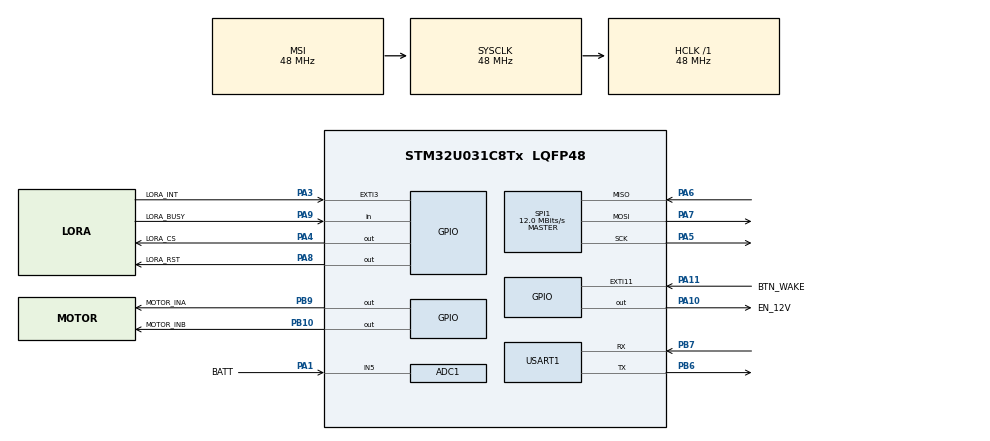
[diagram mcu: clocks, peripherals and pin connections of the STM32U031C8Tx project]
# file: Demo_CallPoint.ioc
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ADC1.Channel-0\#ChannelRegularConversion=ADC_CHANNEL_5
ADC1.NbrOfConversionFlag=1
ADC1.Rank-0\#ChannelRegularConversion=1
ADC1.RankArg-0\#ChannelRegularConversion=ADC_REGULAR_RANK_1
ADC1.SamplingTime-0\#ChannelRegularConversion=ADC_SAMPLINGTIME_COMMON_1
ADC1.SelectedChannel=ADC_CHANNEL_5
ADC1.master=1
Mcu.Family=STM32U0
Mcu.Name=STM32U031C8Tx
Mcu.Package=LQFP48
Mcu.UserConstants=RTC_PREDIV_A,((1<<(15-RTC_N_PREDIV_S))-1);RTC_N_PREDIV_S,10;RTC_PREDIV_S,((1<<RTC_N_PREDIV_S)-1)
NVIC.EXTI2_3_IRQn=true\:0\:0\:false\:false\:true\:true\:true\:true
NVIC.EXTI4_15_IRQn=true\:0\:0\:false\:false\:true\:true\:true\:true
NVIC.PriorityGroup=NVIC_PRIORITYGROUP_2
PA1.GPIO_Label=BATT
PA1.Mode=IN5
PA1.Signal=ADC1_IN5
PA10.GPIO_Label=EN_12V
PA10.PinState=GPIO_PIN_RESET
PA10.Signal=GPIO_Output
PA11\ [PA9].GPIO_Label=BTN_WAKE
PA11\ [PA9].GPIO_ModeDefaultEXTI=GPIO_MODE_IT_FALLING
PA11\ [PA9].Signal=GPXTI11
PA13\ (SWDIO).Mode=Serial_Wire
PA13\ (SWDIO).Signal=DEBUG_JTMS-SWDIO
PA14\ (SWCLK).Mode=Serial_Wire
PA14\ (SWCLK).Signal=DEBUG_JTCK-SWCLK
PA3.GPIO_Label=LORA_INT
PA3.Signal=GPXTI3
PA4.GPIO_Label=LORA_CS
PA4.PinState=GPIO_PIN_SET
PA4.Signal=GPIO_Output
PA5.Mode=Full_Duplex_Master
PA5.Signal=SPI1_SCK
PA6.Mode=Full_Duplex_Master
PA6.Signal=SPI1_MISO
PA7.Mode=Full_Duplex_Master
PA7.Signal=SPI1_MOSI
PA8.GPIO_Label=LORA_RST
PA8.PinState=GPIO_PIN_SET
PA8.Signal=GPIO_Output
PA9.GPIO_Label=LORA_BUSY
PA9.Signal=GPIO_Input
PB10.GPIO_Label=MOTOR_INB
PB10.PinState=GPIO_PIN_RESET
PB10.Signal=GPIO_Output
PB6.Mode=Asynchronous
PB6.Signal=USART1_TX
PB7.Mode=Asynchronous
PB7.Signal=USART1_RX
PB9.GPIO_Label=MOTOR_INA
PB9.PinState=GPIO_PIN_RESET
PB9.Signal=GPIO_Output
ProjectManager.HeapSize=0x200
ProjectManager.StackSize=0x400
ProjectManager.TargetToolchain=STM32CubeIDE
RCC.ADCFreq_Value=48000000
RCC.AHBFreq_Value=48000000
RCC.CortexFreq_Value=48000000
RCC.HCLKFreq_Value=48000000
RCC.HSE_VALUE=8000000
RCC.HSI48_VALUE=48000000
RCC.HSI_VALUE=16000000
RCC.LSE_VALUE=32768
RCC.MSIClockRangeVal=RCC_MSIRANGE_11
RCC.MSI_VALUE=48000000
RCC.PLLN=8
RCC.PLLP=RCC_PLLP_DIV8
RCC.PLLQ=RCC_PLLQ_DIV8
RCC.PLLR=RCC_PLLR_DIV4
RCC.PLLSourceVirtual=RCC_PLLSOURCE_MSI
RCC.SYSCLKFreq_VALUE=48000000
RCC.SYSCLKSource=RCC_SYSCLKSOURCE_MSI
RCC.VCOOutputFreq_Value=384000000
SPI1.BaudRatePrescaler=SPI_BAUDRATEPRESCALER_4
SPI1.CalculateBaudRate=12.0 MBits/s
SPI1.DataSize=SPI_DATASIZE_8BIT
SPI1.Direction=SPI_DIRECTION_2LINES
SPI1.Mode=SPI_MODE_MASTER
SPI1.VirtualType=VM_MASTER
USART1.VirtualMode-Asynchronous=VM_ASYNC
VP_PWR_VS_SECSignals.Mode=Security/Privilege
board=custom

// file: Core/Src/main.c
/* USER CODE BEGIN Header */
/**
  ******************************************************************************
  * @file           : main.c
  * @brief          : Main program body
  ******************************************************************************
  * @attention
  *
  * Copyright (c) 2024 STMicroelectronics.
  * All rights reserved.
  *
  * This software is licensed under terms that can be found in the LICENSE file
  * in the root directory of this software component.
  * If no LICENSE file comes with this software, it is provided AS-IS.
  *
  ******************************************************************************
  */
/* USER CODE END Header */
#include "main.h"
#include "adc.h"
#include "spi.h"
#include "usart.h"
#include "gpio.h"

/* USER CODE BEGIN Includes */
#include "TraceLog/TraceLog.h"

#include "lora/radio/radio.h"
#include "lora/sx126x/sx126x_bsp.h"
#include "lora/sx126x/sx126x.h"
#include "string.h"
#include "stdio.h"
/* USER CODE END Includes */

/* USER CODE BEGIN PM */
#define RF_FREQUENCY 923000000  // Hz
#define TX_OUTPUT_POWER 22		// dBm
#define LORA_BANDWIDTH 0		// [0: 125 kHz, 1: 250 kHz, 2: 500 kHz, 3: Reserved]
#define LORA_SPREADING_FACTOR 7 // [SF7..SF12]
#define LORA_CODINGRATE 1		// [1: 4/5, 2: 4/6,  3: 4/7,  4: 4/8]
#define LORA_PREAMBLE_LENGTH 8  // Same for Tx and Rx
#define LORA_SYMBOL_TIMEOUT 0   // Symbols
#define LORA_FIX_LENGTH_PAYLOAD_ON false
#define LORA_IQ_INVERSION_ON false
#define BUFFER_SIZE 64 // Define the payload size here

#define ALL_DEVEUI       0xFF
#define CALLPOINT_DEVEUI 0x73
/* USER CODE END PM */

/* USER CODE BEGIN PV */
typedef enum {
	CMD_UNKNOWN,
	CMD_STATUS,
	CMD_STATUS_DAILY,
	CMD_SET_STANDBY_TIME,
	CMD_ACK,
	CMD_STOP_SENSOR,
	CMD_STATUS_ENDCALLPOINT,
} lora_pktcmd_t;

typedef struct {
	/// Receive flag
	uint8_t recv;
	/// Received signal param
	int16_t rssi;
	int8_t  snr;
	/// Received payload
	uint8_t recvbuffer[BUFFER_SIZE];
	uint8_t recvlen;
	/// Received parse param
	uint8_t deveui;
	lora_pktcmd_t cmd;
	uint8_t value_len;
	uint8_t value[8];
	uint8_t req_ack;
} lora_rxpkt_t;
typedef struct {
	uint8_t deveui;
	lora_pktcmd_t cmd;
	uint8_t value_len;
	uint8_t value[8];
	uint8_t req_ack;
	uint8_t resp_ack;
} lora_txpkt_t;
/* USER CODE END PV */

void SystemClock_Config(void);
/* USER CODE BEGIN PFP */
void OnTxDone(void);
void OnRxDone(uint8_t *payload, uint16_t size, int16_t rssi, int8_t snr);
/* USER CODE END PFP */

/* USER CODE BEGIN 0 */
static const char *TAG = "CALLPOINT";
static RadioEvents_t RadioEvents;

volatile uint8_t start_process = 0;
lora_rxpkt_t rxpkt = {
	.recv = 0,
	.rssi = 0,
	.snr  = 0,
	.recvlen = 0,
	.deveui = 0,
	.cmd = CMD_UNKNOWN,
	.value_len = 0,
	.req_ack = 0,
};
lora_txpkt_t txpkt = {
	.deveui = 0,
	.cmd = CMD_UNKNOWN,
	.value_len = 0,
	.req_ack = 0,
	.resp_ack = 1,
};
uint32_t ack_timeout = 0;
uint32_t standby_time = 0;
uint32_t motor_time = 0;
uint8_t start_motor_process = 0;
uint8_t end_motor_process = 0;
static void tracelog(char *str);
void send_packet(void);
uint32_t adc_get_value(uint32_t channel);
void run_motor(void);

/* USER CODE END 0 */

int main(void)
{

  /* MCU Configuration--------------------------------------------------------*/

  /* Reset of all peripherals, Initializes the Flash interface and the Systick. */
  HAL_Init();

  /* Configure the system clock */
  SystemClock_Config();

  /* Initialize all configured peripherals */
  MX_GPIO_Init();
  MX_SPI1_Init();
  MX_USART1_UART_Init();
//  MX_ADC1_Init();
  /* USER CODE BEGIN 2 */

	log_monitor_init(tracelog);

	SX126xIoInit();
	uint16_t readSyncWord = 0;
	SX126xReadRegisters(REG_LR_SYNCWORD, (uint8_t *)&readSyncWord, 2);
	LOG_INFO(TAG, "SyncWord = 0x%04x", readSyncWord);

	RadioEvents.TxDone = OnTxDone;
	RadioEvents.RxDone = OnRxDone;
	Radio.Init(&RadioEvents);
	Radio.SetChannel(RF_FREQUENCY);
	Radio.SetTxConfig(MODEM_LORA, TX_OUTPUT_POWER, 0, LORA_BANDWIDTH,
					  LORA_SPREADING_FACTOR, LORA_CODINGRATE,
					  LORA_PREAMBLE_LENGTH, LORA_FIX_LENGTH_PAYLOAD_ON,
					  true, 0, 0, LORA_IQ_INVERSION_ON, 0);
	Radio.SetRxConfig(MODEM_LORA, LORA_BANDWIDTH, LORA_SPREADING_FACTOR,
					  LORA_CODINGRATE, 0, LORA_PREAMBLE_LENGTH,
					  LORA_SYMBOL_TIMEOUT, LORA_FIX_LENGTH_PAYLOAD_ON,
					  0, true, 0, 0, LORA_IQ_INVERSION_ON, true);
	LOG_INFO(TAG, "Starting CallPoint");
	Radio.Rx(0);
  /* USER CODE END 2 */

  /* Infinite loop */
  while (1)
  {

    /* USER CODE BEGIN 3 */
	  Radio.BgIrqProcess();

	  run_motor();

	  /// Press button, send first status message and start process
	  if(start_process == 1){
		  txpkt.deveui = CALLPOINT_DEVEUI;
		  txpkt.cmd = CMD_STATUS_DAILY;
		  txpkt.value_len = 1;
		  txpkt.value[0] = adc_get_value(ADC_CHANNEL_5);
		  txpkt.req_ack = 0;
		  send_packet();
		  LOG_EVENT(TAG, "Sent daily status to gateway.");
		  start_process = 0;
	  }

	  /// Check ACK timeout
	  if(txpkt.req_ack == 1 && txpkt.resp_ack == 0){
		  if(HAL_GetTick() - ack_timeout > 5000){
			  LOG_ERROR(TAG, "gateway not response ACK.", txpkt.deveui);
			  txpkt.req_ack = 0;
		  }
	  }

	  if(rxpkt.recv == 1){
		  if(rxpkt.deveui == CALLPOINT_DEVEUI || rxpkt.deveui == ALL_DEVEUI){
			  switch(rxpkt.cmd){
				  case CMD_ACK:
			  		  txpkt.req_ack = 0;
			  		  txpkt.resp_ack = 1;
			  		  LOG_INFO(TAG, "Gateway responsed ACK.", rxpkt.deveui);
				  break;
				  case CMD_SET_STANDBY_TIME:
					  standby_time = rxpkt.value[0]*1000;
					  LOG_INFO(TAG, "Set standby time to %dms.", standby_time);
					  start_motor_process = 1;
					  motor_time = HAL_GetTick();
				  break;
				  default:
				  break;
			  }

			  /// Packet require ACK
			  if(rxpkt.req_ack == 1){
				  txpkt.deveui = rxpkt.deveui;
				  txpkt.cmd = CMD_ACK;
				  txpkt.value_len = 0;
				  txpkt.req_ack = 0;
				  send_packet();
				  LOG_EVENT(TAG, "Sent ACK to DevEUI 0x%02x.", txpkt.deveui);
			  }
		  }

		  rxpkt.recv = 0;
		  rxpkt.recvlen = 0;
		  rxpkt.deveui = 0;
		  rxpkt.cmd = CMD_UNKNOWN;
		  rxpkt.value_len = 0;
	  }
  }
  /* USER CODE END 3 */
}

void SystemClock_Config(void)
{
  RCC_OscInitTypeDef RCC_OscInitStruct = {0};
  RCC_ClkInitTypeDef RCC_ClkInitStruct = {0};

  /** Configure the main internal regulator output voltage
  */
  HAL_PWREx_ControlVoltageScaling(PWR_REGULATOR_VOLTAGE_SCALE1);

  /** Initializes the RCC Oscillators according to the specified parameters
  * in the RCC_OscInitTypeDef structure.
  */
  RCC_OscInitStruct.OscillatorType = RCC_OSCILLATORTYPE_MSI;
  RCC_OscInitStruct.MSIState = RCC_MSI_ON;
  RCC_OscInitStruct.MSICalibrationValue = RCC_MSICALIBRATION_DEFAULT;
  RCC_OscInitStruct.MSIClockRange = RCC_MSIRANGE_11;
  RCC_OscInitStruct.PLL.PLLState = RCC_PLL_NONE;
  if (HAL_RCC_OscConfig(&RCC_OscInitStruct) != HAL_OK)
  {
    Error_Handler();
  }

  /** Initializes the CPU, AHB and APB buses clocks
  */
  RCC_ClkInitStruct.ClockType = RCC_CLOCKTYPE_HCLK|RCC_CLOCKTYPE_SYSCLK
                              |RCC_CLOCKTYPE_PCLK1;
  RCC_ClkInitStruct.SYSCLKSource = RCC_SYSCLKSOURCE_MSI;
  RCC_ClkInitStruct.AHBCLKDivider = RCC_SYSCLK_DIV1;
  RCC_ClkInitStruct.APB1CLKDivider = RCC_HCLK_DIV1;

  if (HAL_RCC_ClockConfig(&RCC_ClkInitStruct, FLASH_LATENCY_1) != HAL_OK)
  {
    Error_Handler();
  }
}

/* USER CODE BEGIN 4 */
void HAL_GPIO_EXTI_Rising_Callback(uint16_t GPIO_Pin){
	if(GPIO_Pin == LORA_INT_Pin){
		extern void RadioOnDioIrq(void);
		RadioOnDioIrq();
	}
}

void HAL_GPIO_EXTI_Falling_Callback(uint16_t GPIO_Pin){
	if(GPIO_Pin == BTN_WAKE_Pin){
		for(uint32_t i=0; i<120000; i++) __NOP(); //10ms
		if(HAL_GPIO_ReadPin(BTN_WAKE_GPIO_Port, BTN_WAKE_Pin) == GPIO_PIN_RESET){
			start_process = 1;
		}
	}
}

uint32_t adc_get_value(uint32_t channel){
	uint32_t ADCxConvertedValues = 0;
	ADC_ChannelConfTypeDef sConfig = {0};

	MX_ADC1_Init();
	if (HAL_ADCEx_Calibration_Start(&hadc1) != HAL_OK)
		Error_Handler();

	sConfig.Channel = channel;
	sConfig.Rank = ADC_REGULAR_RANK_1;
	sConfig.SamplingTime = ADC_SAMPLINGTIME_COMMON_1;
	if (HAL_ADC_ConfigChannel(&hadc1, &sConfig) != HAL_OK)
		Error_Handler();

	if (HAL_ADC_Start(&hadc1) != HAL_OK)
		Error_Handler();
	HAL_ADC_PollForConversion(&hadc1, HAL_MAX_DELAY);
	HAL_ADC_Stop(&hadc1);
	ADCxConvertedValues = HAL_ADC_GetValue(&hadc1);

	HAL_ADC_DeInit(&hadc1);

	return ADCxConvertedValues;
}

static void tracelog(char *str){
	HAL_UART_Transmit(&huart1, (uint8_t *)str, strlen(str), 1000);
}

void send_packet(void){
	uint8_t txbuffer[BUFFER_SIZE];

	txpkt.resp_ack = 0;
	txbuffer[0] = txpkt.deveui;
	txbuffer[1] = (uint8_t)txpkt.cmd;
	txbuffer[2] = txpkt.req_ack;
	txbuffer[3] = txpkt.value_len;
	for(uint8_t i=0; i<txpkt.value_len; i++)
		txbuffer[4+i] = txpkt.value[i];

	if(txpkt.req_ack == 1) ack_timeout = HAL_GetTick();

	Radio.Send(txbuffer, 4+txpkt.value_len);
}

void run_motor(void){
	static uint8_t motor_state = 0;
	static uint8_t run_motor = 0;

	if(start_motor_process == 1){
		if(HAL_GetTick() - motor_time > standby_time && run_motor == 0){
			motor_time = HAL_GetTick();
			run_motor = 1;
		}
	}

	if(start_motor_process == 1 && run_motor == 1){
		HAL_GPIO_WritePin(EN_12V_GPIO_Port, EN_12V_Pin, GPIO_PIN_SET);
		if(HAL_GetTick() - motor_time > 500 && motor_state == 0){
			motor_time = HAL_GetTick();
			LOG_INFO(TAG, "RUN MOTOR");
			HAL_GPIO_WritePin(MOTOR_INA_GPIO_Port, MOTOR_INA_Pin, GPIO_PIN_RESET);
			HAL_GPIO_WritePin(MOTOR_INB_GPIO_Port, MOTOR_INB_Pin, GPIO_PIN_SET);
			motor_state = 1;
		}
		if(HAL_GetTick() - motor_time > 7000 && motor_state == 1){
			motor_time = HAL_GetTick();
			HAL_GPIO_WritePin(MOTOR_INA_GPIO_Port, MOTOR_INA_Pin, GPIO_PIN_RESET);
			HAL_GPIO_WritePin(MOTOR_INB_GPIO_Port, MOTOR_INB_Pin, GPIO_PIN_RESET);
			motor_state = 2;
		}
		if(HAL_GetTick() - motor_time > 7000 && motor_state == 2){
			motor_time = HAL_GetTick();
			HAL_GPIO_WritePin(MOTOR_INA_GPIO_Port, MOTOR_INA_Pin, GPIO_PIN_SET);
			HAL_GPIO_WritePin(MOTOR_INB_GPIO_Port, MOTOR_INB_Pin, GPIO_PIN_RESET);
			motor_state = 3;
		}
		if(HAL_GetTick() - motor_time > 7000 && motor_state == 3){
			HAL_GPIO_WritePin(MOTOR_INA_GPIO_Port, MOTOR_INA_Pin, GPIO_PIN_RESET);
			HAL_GPIO_WritePin(MOTOR_INB_GPIO_Port, MOTOR_INB_Pin, GPIO_PIN_RESET);
			HAL_GPIO_WritePin(EN_12V_GPIO_Port, EN_12V_Pin, GPIO_PIN_RESET);
			motor_state = 0;
			run_motor = 0;
			start_motor_process = 0;

			txpkt.deveui = CALLPOINT_DEVEUI;
			txpkt.cmd = CMD_STATUS_ENDCALLPOINT;
			txpkt.value_len = 0;
			txpkt.req_ack = 1;
			send_packet();
			LOG_EVENT(TAG, "Sent status end callpoint to gateway.");
		}
	}
}

void OnTxDone(void){
	Radio.Rx(0);
}

/**@brief Function to be executed on Radio Rx Done event
 */
void OnRxDone(uint8_t *payload, uint16_t size, int16_t rssi, int8_t snr){
	rxpkt.recv = 1;

	rxpkt.rssi = rssi;
	rxpkt.snr = snr;

	rxpkt.recvlen = size;
	memset(rxpkt.recvbuffer, 0, BUFFER_SIZE);
	memcpy(rxpkt.recvbuffer, payload, rxpkt.recvlen);

	rxpkt.deveui = rxpkt.recvbuffer[0];
	rxpkt.cmd = (lora_pktcmd_t)rxpkt.recvbuffer[1];
	rxpkt.req_ack = rxpkt.recvbuffer[2];
	rxpkt.value_len = rxpkt.recvbuffer[3];
	for(uint8_t i=0; i<rxpkt.value_len; i++)
		rxpkt.value[i] = rxpkt.recvbuffer[i+4];
}
/* USER CODE END 4 */

void Error_Handler(void)
{
  __disable_irq();
  while (1)
  {
  }
}
